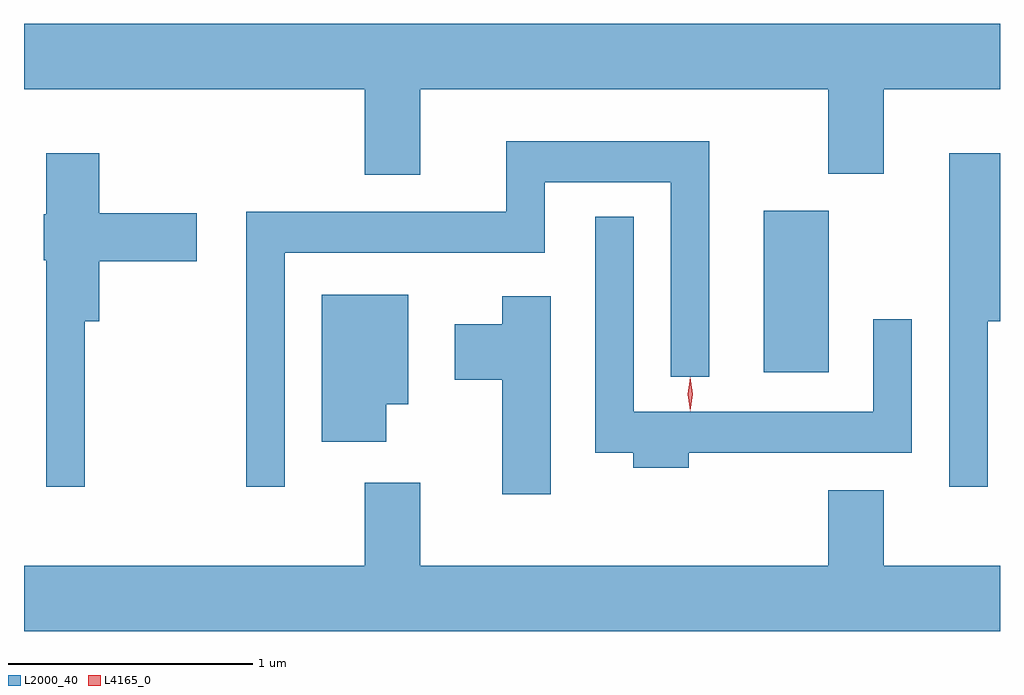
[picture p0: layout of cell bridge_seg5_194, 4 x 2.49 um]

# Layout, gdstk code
import gdstk
lib = gdstk.Library(unit=1e-6, precision=1e-09)
def R(c, l, rs):  # rectangles x0, y0, x1, y1
    for r in rs: c.add(gdstk.rectangle(r[:2], r[2:], *l))
def P(c, l, *ps):  # polygons
    for p in ps: c.add(gdstk.Polygon(p, *l))
L2000_40 = (2000, 40)
L4165_0 = (4165, 0)

bridge_seg5_194 = lib.new_cell('bridge_seg5_194')
R(bridge_seg5_194, L2000_40, [(1307.496,1428.996,1307.764,1429.659)])
P(bridge_seg5_194, L2000_40, [(1306.089,1430.156),(1307.761,1430.156),(1307.761,1429.811),(1307.989,1429.811),(1307.989,1430.156),(1308.465,1430.156),(1308.465,1430.424),(1304.465,1430.424),(1304.465,1430.156),(1305.861,1430.156),(1305.861,1429.806),(1306.089,1429.806)],
  [(1305.534,1429.486),(1306.599,1429.486),(1306.599,1429.776),(1307.116,1429.776),(1307.116,1428.978),(1307.274,1428.978),(1307.274,1429.944),(1306.441,1429.944),(1306.441,1429.654),(1305.376,1429.654),(1305.376,1428.528),(1305.534,1428.528)],
  [(1308.414,1429.206),(1308.465,1429.206),(1308.465,1429.894),(1308.256,1429.894),(1308.256,1428.528),(1308.414,1428.528)],
  [(1304.714,1429.206),(1304.774,1429.206),(1304.774,1429.451),(1305.174,1429.451),(1305.174,1429.649),(1304.774,1429.649),(1304.774,1429.894),(1304.556,1429.894),(1304.556,1429.645),(1304.546,1429.645),(1304.546,1429.455),(1304.556,1429.455),(1304.556,1428.528),(1304.714,1428.528)],
  [(1307.189,1428.666),(1308.104,1428.666),(1308.104,1429.213),(1307.946,1429.213),(1307.946,1428.834),(1306.964,1428.834),(1306.964,1429.633),(1306.806,1429.633),(1306.806,1428.666),(1306.961,1428.666),(1306.961,1428.606),(1307.189,1428.606)],
  [(1305.949,1428.866),(1306.039,1428.866),(1306.039,1429.314),(1305.686,1429.314),(1305.686,1428.711),(1305.949,1428.711)],
  [(1306.624,1429.309),(1306.426,1429.309),(1306.426,1429.194),(1306.231,1429.194),(1306.231,1428.966),(1306.426,1428.966),(1306.426,1428.496),(1306.624,1428.496)],
  [(1308.465,1428.204),(1307.989,1428.204),(1307.989,1428.514),(1307.761,1428.514),(1307.761,1428.204),(1306.089,1428.204),(1306.089,1428.544),(1305.861,1428.544),(1305.861,1428.204),(1304.465,1428.204),(1304.465,1427.936),(1308.465,1427.936)])
P(bridge_seg5_194, L4165_0, [(1307.195,1428.839),(1307.195,1428.84),(1307.185,1428.906),(1307.195,1428.972),(1307.195,1428.973),(1307.196,1428.972),(1307.205,1428.906),(1307.196,1428.84)],
  [(1307.196,1428.837),(1307.195,1428.838),(1307.186,1428.907),(1307.195,1428.976),(1307.196,1428.976),(1307.196,1428.976),(1307.205,1428.907),(1307.196,1428.838)])

lib.write_gds('bridge_seg5_194.gds')
